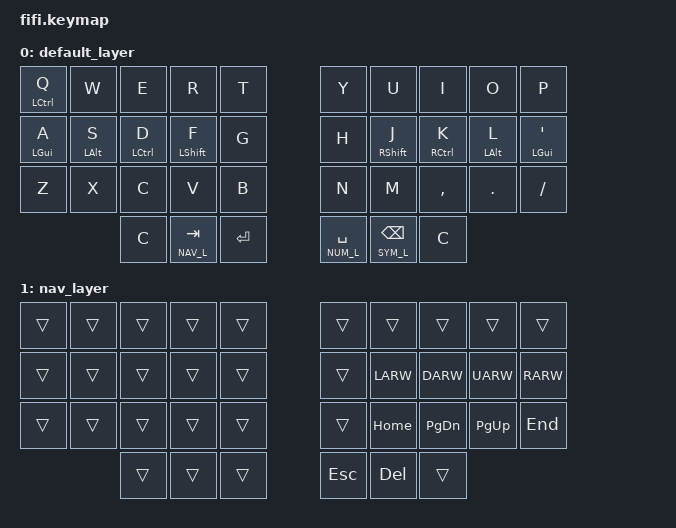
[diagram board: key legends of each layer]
/*
 * Copyright (c) 2020 The ZMK Contributors
 *
 * SPDX-License-Identifier: MIT
 */

#include <behaviors.dtsi>
#include <dt-bindings/zmk/keys.h>
#include <dt-bindings/zmk/bt.h>

#define NAV_L 1
#define OTHER_L 2
#define NUM_L 3
#define SYM_L 4

// Using layer taps on thumbs, having quick tap as well helps w/ repeating space/backspace
&lt { quick_tap_ms = <200>; };

/ {
    behaviors {
        hm: homerow_mods {
            compatible = "zmk,behavior-hold-tap";
            label = "homerow mods";
            #binding-cells = <2>;
            tapping_term_ms = <160>;
            flavor = "tap-preferred";
            bindings = <&kp>, <&kp>;
        };
    };

    keymap {
        compatible = "zmk,keymap";

        default_layer {
            bindings = <
                &hm LCTRL Q      &kp W      &kp E       &kp R          &kp T         &kp Y            &kp U          &kp I       &kp O      &kp P
                &hm LGUI A &hm LALT S &hm LCTRL D &hm LSHFT F    &kp G         &kp H            &hm RSHFT J    &hm RCTRL K &hm LALT L &hm LGUI QUOT
                &kp Z      &kp X      &kp C       &kp V          &kp B         &kp N            &kp M          &kp COMMA   &kp DOT    &kp FSLH
                                      &kp C       &lt NAV_L TAB  &kp ENTER     &lt NUM_L SPACE  &lt SYM_L BKSP &kp C
            >;
        };

        nav_layer {
            bindings = <
                &trans     &trans     &trans      &trans          &trans       &trans           &trans         &trans      &trans     &trans
                &trans     &trans     &trans      &trans          &trans       &trans           &kp LARW       &kp DARW    &kp UARW   &kp RARW
                &trans     &trans     &trans      &trans          &trans       &trans           &kp HOME       &kp PG_DN   &kp PG_UP  &kp END
                                      &trans      &trans          &trans       &kp ESC          &kp DEL        &trans
            >;
        };
    };
};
